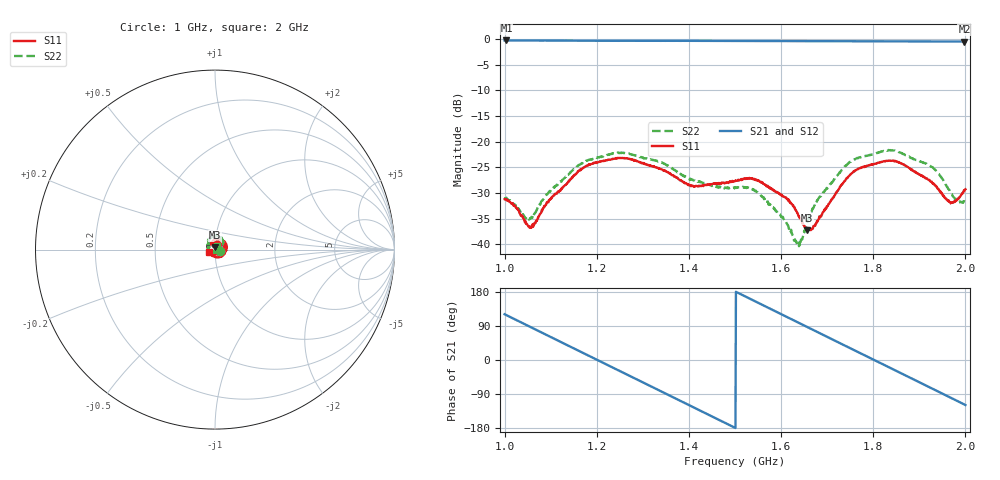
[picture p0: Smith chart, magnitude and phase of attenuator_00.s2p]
#  HZ  S  DB  R  50.00
! Rohde & Schwarz Vector Network Analyzer
! Rohde-Schwarz,ZNB8-4Port,1311601044102961,2.82
! Created: UTC 3/4/2022, 3:49:44 PM
! freq[Hz]  db:S11  ang:S11  db:S21  ang:S21  db:S12  ang:S12  db:S22  ang:S22
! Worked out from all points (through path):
!   1001 points, 1 GHz to 2 GHz, reference 50 ohm
!   highest |S21| = -0.26 dB at 1.004 GHz (marker M1); lowest = -0.5 dB at 1.998 GHz (marker M2)
!   group delay of S21, straight-line fit = 1.66 ns
!   lowest |S11| = -37.3 dB at 1.656 GHz (marker M3), VSWR 1.03, Z = 50.2 + j1.36 ohm
!   |S11| at or under -10 dB: start of sweep to end of sweep
!   |S22| runs from -40.4 to -21.6 dB; largest |S21 - S12| = 0.0024
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1e9  -31.18 68.8  -0.26 120.7  -0.25 120.8  -31.06 -15.7
1.004e9  -31.33 68.3  -0.26 118.4  -0.25 118.3  -30.92 -20.7
1.057e9  -36.64 85.0  -0.28 86.5  -0.26 86.6  -34.90 -107.0
1.108e9  -30.41 106.9  -0.28 55.9  -0.27 55.9  -28.95 -178.8
1.167e9  -25.36 85.7  -0.30 20.5  -0.30 20.6  -24.22 132.1
1.244e9  -23.23 38.8  -0.32 -25.5  -0.32 -25.5  -22.21 86.8
1.292e9  -23.93 1.8  -0.32 -54.2  -0.32 -54.2  -22.86 64.7
1.334e9  -25.21 -32.5  -0.33 -79.4  -0.32 -79.4  -23.80 48.4
1.408e9  -28.65 -116.5  -0.32 -123.7  -0.33 -123.7  -27.39 32.5
1.456e9  -28.11 -179.9  -0.34 -152.5  -0.33 -152.5  -28.62 37.1
1.5e9  -27.61 135.5  -0.34 -178.9  -0.35 -178.9  -28.85 29.0
1.562e9  -28.20 85.8  -0.36 143.9  -0.35 143.9  -30.82 7.8
1.636e9  -33.97 62.7  -0.38 99.6  -0.37 99.5  -39.97 -98.1
1.656e9  -37.29 82.2  -0.38 87.6  -0.38 87.5  -36.06 -155.7
1.667e9  -36.93 99.3  -0.38 80.9  -0.38 80.9  -33.39 -170.5
1.709e9  -31.30 116.9  -0.40 55.7  -0.40 55.7  -28.12 150.4
1.757e9  -25.81 100.5  -0.42 26.9  -0.42 26.9  -23.52 120.1
1.834e9  -23.68 54.2  -0.45 -19.1  -0.45 -19.1  -21.65 76.3
1.92e9  -27.46 -17.2  -0.45 -70.7  -0.45 -70.7  -24.52 39.4
1.969e9  -31.89 -102.1  -0.46 -100.1  -0.45 -100.1  -30.06 41.4
1.998e9  -29.55 -156.4  -0.47 -117.5  -0.47 -117.5  -31.63 58.7
2e9  -29.27 -158.8  -0.47 -118.7  -0.47 -118.8  -31.60 58.4
